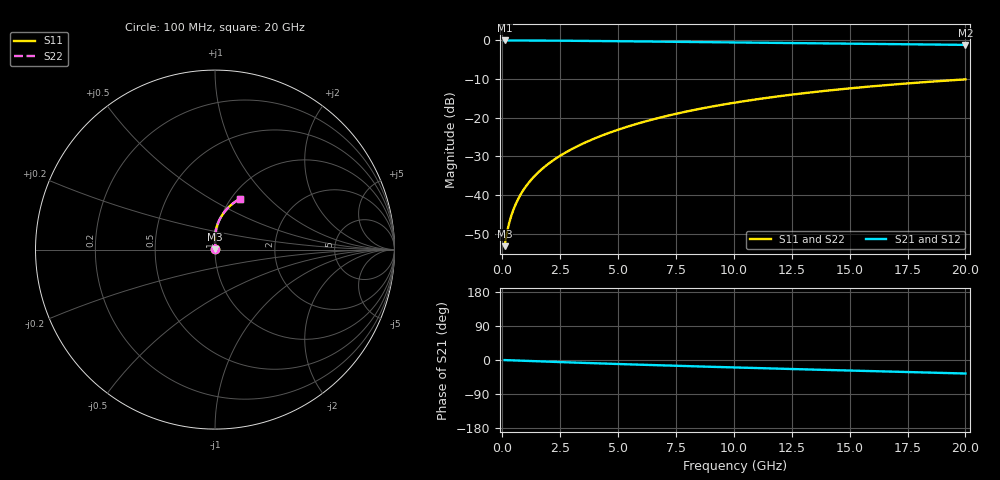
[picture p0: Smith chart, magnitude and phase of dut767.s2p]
! Touchstone file exported from HFSS 2024.1.0
!  File:  C:/UserFiles/LocalFiles/RDL_TSV_Batchsim/temp_RDL_top_767_1779852458.aedt
!  Generated:  11:29:48 AM May 27, 2026
!  Design:  RDL_top
!  Project:  temp_RDL_top_767_1779852458
!  Setup:  Setup1
!  Solution:  Sweep
! Variables:
!  dtsv = 10.80580581um
!  hbump = 3um
!  htsv = 61.86um
!  ldown = 100um
!  lrdl = 503.95um
!  p = 40
!  p1 = 57.67um
!  rhole = 1um
!  t = 450um
!  tdown = 3.915915916um
!  trdl = 4.38um
!  wdown = 15.38538539um
!  wrdl = 28.07um
# GHz S MA R 50.000000
! Terminal data exported
! Port[1] = Box2_T1
! Port[2] = Box2_T2
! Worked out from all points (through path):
!   200 points, 100 MHz to 20 GHz, reference 50 ohm
!   highest |S21| = -0.01 dB at 100 MHz (marker M1); lowest = -1.2 dB at 20 GHz (marker M2)
!   group delay of S21, straight-line fit = 4.87 ps
!   lowest |S11| = -53.2 dB at 100 MHz (marker M3), VSWR 1.00, Z = 50.2 + j0.142 ohm
!   |S11| at or under -10 dB: start of sweep to end of sweep
!   |S22| runs from -53.2 to -10.1 dB; largest |S21 - S12| = 2.6e-15
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0.1  0.002187 40.3  0.9983 -0.2  0.9983 -0.2  0.002187 40.3
! Gamma 0 0 0 0
! Port Impedance 50 0 50 0
0.2  0.003267 56.9  0.9982 -0.5  0.9982 -0.5  0.003267 56.9
0.3  0.004403 64.8  0.998 -0.7  0.998 -0.7  0.004403 64.8
0.4  0.005549 69.7  0.9978 -0.9  0.9978 -0.9  0.005549 69.7
0.5  0.006709 73.1  0.9977 -1.1  0.9977 -1.1  0.006709 73.1
0.6  0.007884 75.7  0.9975 -1.4  0.9975 -1.4  0.007884 75.7
0.8  0.01028 79.4  0.9972 -1.8  0.9972 -1.8  0.01028 79.4
1.1  0.01396 82.8  0.9965 -2.5  0.9965 -2.5  0.01396 82.8
1.5  0.019 85.6  0.9954 -3.3  0.9954 -3.3  0.019 85.6
2.1  0.02685 88.0  0.9931 -4.6  0.9931 -4.6  0.02685 88.0
2.7  0.03507 89.4  0.9903 -5.9  0.9903 -5.9  0.03507 89.4
3.5  0.04663 90.3  0.9859 -7.6  0.9859 -7.6  0.04663 90.3
4.2  0.0573 90.5  0.9815 -9.0  0.9815 -9.0  0.05729 90.5
5  0.07004 90.3  0.9762 -10.6  0.9762 -10.6  0.07003 90.3
5.9  0.08495 89.5  0.9699 -12.3  0.9699 -12.3  0.08494 89.5
6.8  0.1003 88.3  0.9636 -14.0  0.9636 -14.0  0.1003 88.3
8.4  0.1282 85.8  0.9523 -16.8  0.9523 -16.8  0.1281 85.7
10.1  0.1579 82.6  0.9407 -19.8  0.9407 -19.8  0.1579 82.6
11.7  0.1854 79.5  0.9299 -22.5  0.9299 -22.5  0.1854 79.5
13.4  0.2139 76.2  0.9186 -25.3  0.9186 -25.3  0.2139 76.2
16.7  0.266 70.0  0.8968 -30.6  0.8968 -30.6  0.266 70.0
20  0.3135 64.1  0.8751 -35.6  0.8751 -35.6  0.3134 64.1
